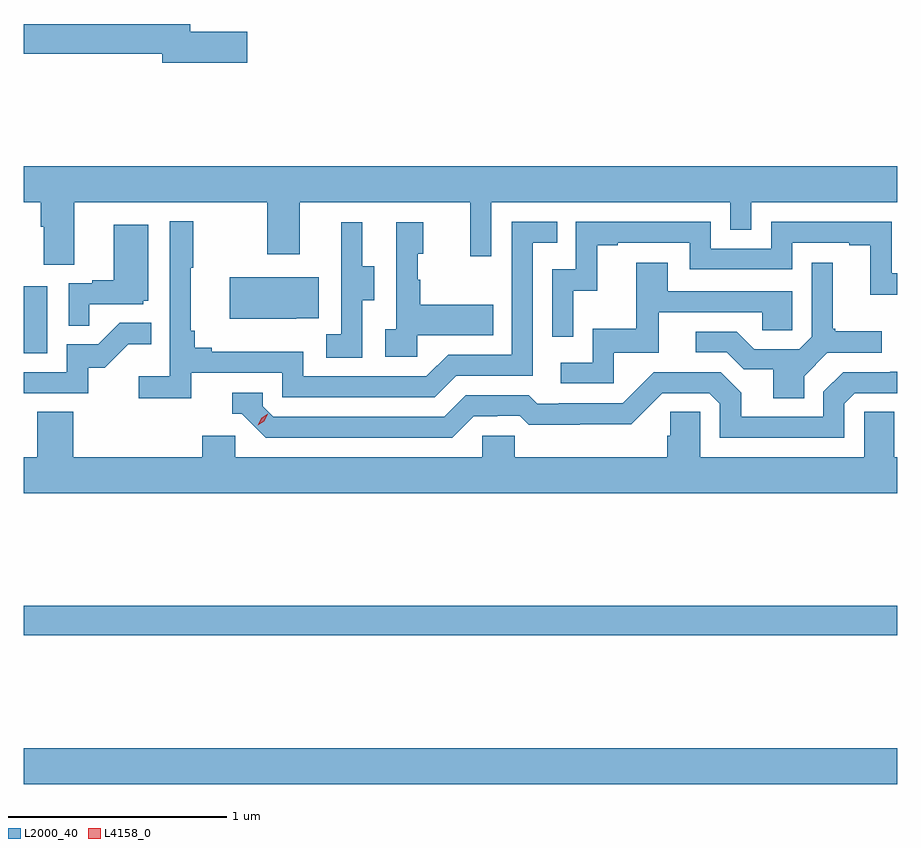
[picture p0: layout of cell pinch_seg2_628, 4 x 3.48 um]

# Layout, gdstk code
import gdstk
lib = gdstk.Library(unit=1e-6, precision=1e-09)
def R(c, l, rs):  # rectangles x0, y0, x1, y1
    for r in rs: c.add(gdstk.rectangle(r[:2], r[2:], *l))
def P(c, l, *ps):  # polygons
    for p in ps: c.add(gdstk.Polygon(p, *l))
L2000_40 = (2000, 40)
L4158_0 = (4158, 0)

pinch_seg2_628 = lib.new_cell('pinch_seg2_628')
R(pinch_seg2_628, L2000_40, [(1054.042,593.024,1058.042,593.188), (1054.042,593.704,1058.042,593.84), (1054.042,594.996,1054.15,595.303)])
P(pinch_seg2_628, L2000_40, [(1055.065,596.468),(1054.804,596.468),(1054.804,596.504),(1054.042,596.504),(1054.042,596.368),(1054.676,596.368),(1054.676,596.326),(1055.065,596.326)],
  [(1054.273,595.688),(1055.158,595.688),(1055.158,595.449),(1055.305,595.449),(1055.305,595.688),(1056.086,595.688),(1056.086,595.44),(1056.183,595.44),(1056.183,595.688),(1057.278,595.688),(1057.278,595.561),(1057.374,595.561),(1057.374,595.688),(1058.042,595.688),(1058.042,595.852),(1054.042,595.852),(1054.042,595.688),(1054.121,595.688),(1054.121,595.576),(1054.133,595.576),(1054.133,595.402),(1054.273,595.402)],
  [(1054.808,594.906),(1055.226,594.906),(1055.226,594.795),(1055.923,594.795),(1056.022,594.894),(1056.372,594.894),(1056.372,595.503),(1056.485,595.503),(1056.485,595.599),(1056.276,595.599),(1056.276,594.99),(1055.985,594.99),(1055.886,594.891),(1055.322,594.891),(1055.322,595.003),(1054.903,595.003),(1054.903,595.022),(1054.826,595.022),(1054.826,595.099),(1054.807,595.099),(1054.807,595.387),(1054.819,595.387),(1054.819,595.6),(1054.71,595.6),(1054.71,594.892),(1054.569,594.892),(1054.569,594.79),(1054.808,594.79)],
  [(1056.558,595.283),(1056.668,595.283),(1056.668,595.491),(1056.763,595.491),(1056.763,595.503),(1057.092,595.503),(1057.092,595.38),(1057.56,595.38),(1057.56,595.503),(1057.823,595.503),(1057.823,595.491),(1057.919,595.491),(1057.919,595.265),(1058.042,595.265),(1058.042,595.363),(1058.016,595.363),(1058.016,595.599),(1057.464,595.599),(1057.464,595.476),(1057.188,595.476),(1057.188,595.599),(1056.57,595.599),(1056.57,595.38),(1056.462,595.38),(1056.462,595.071),(1056.558,595.071)],
  [(1055.592,595.24),(1055.647,595.24),(1055.647,595.395),(1055.593,595.395),(1055.593,595.597),(1055.495,595.597),(1055.495,595.383),(1055.496,595.383),(1055.496,595.083),(1055.427,595.083),(1055.427,594.976),(1055.592,594.976)],
  [(1055.844,595.079),(1056.191,595.079),(1056.191,595.219),(1055.857,595.219),(1055.857,595.334),(1055.847,595.334),(1055.847,595.452),(1055.872,595.452),(1055.872,595.597),(1055.748,595.597),(1055.748,595.106),(1055.697,595.106),(1055.697,594.981),(1055.844,594.981)],
  [(1054.343,595.221),(1054.59,595.221),(1054.59,595.236),(1054.612,595.236),(1054.612,595.585),(1054.454,595.585),(1054.454,595.33),(1054.355,595.33),(1054.355,595.317),(1054.248,595.317),(1054.248,595.123),(1054.343,595.123)],
  [(1057.615,594.892),(1057.722,594.999),(1057.972,594.999),(1057.972,595.096),(1057.759,595.096),(1057.759,595.108),(1057.747,595.108),(1057.747,595.411),(1057.65,595.411),(1057.65,595.071),(1057.593,595.014),(1057.387,595.014),(1057.306,595.095),(1057.119,595.095),(1057.119,595.002),(1057.26,595.002),(1057.34,594.922),(1057.475,594.922),(1057.475,594.79),(1057.615,594.79)],
  [(1056.744,594.999),(1056.949,594.999),(1056.949,595.185),(1057.423,595.185),(1057.423,595.101),(1057.56,595.101),(1057.56,595.281),(1056.991,595.281),(1056.991,595.411),(1056.847,595.411),(1056.847,595.108),(1056.648,595.108),(1056.648,594.954),(1056.501,594.954),(1056.501,594.858),(1056.744,594.858)],
  [(1055.291,595.157),(1055.393,595.157),(1055.393,595.345),(1054.985,595.345),(1054.985,595.154),(1055.291,595.154)],
  [(1054.338,594.93),(1054.414,594.93),(1054.521,595.037),(1054.625,595.037),(1054.625,595.136),(1054.481,595.136),(1054.383,595.038),(1054.239,595.038),(1054.239,594.909),(1054.042,594.909),(1054.042,594.813),(1054.338,594.813)],
  [(1056.103,594.708),(1056.21,594.708),(1056.21,594.711),(1056.313,594.711),(1056.355,594.669),(1056.588,594.669),(1056.588,594.671),(1056.824,594.671),(1056.966,594.813),(1057.182,594.813),(1057.23,594.765),(1057.23,594.609),(1057.8,594.609),(1057.8,594.765),(1057.848,594.813),(1058.042,594.813),(1058.042,594.911),(1058.01,594.911),(1058.01,594.909),(1057.794,594.909),(1057.704,594.819),(1057.704,594.705),(1057.327,594.705),(1057.327,594.815),(1057.233,594.909),(1056.927,594.909),(1056.786,594.768),(1056.493,594.768),(1056.493,594.765),(1056.394,594.765),(1056.355,594.804),(1056.066,594.804),(1055.967,594.705),(1055.184,594.705),(1055.136,594.753),(1055.136,594.816),(1054.997,594.816),(1054.997,594.72),(1055.04,594.72),(1055.151,594.609),(1056.004,594.609)],
  [(1058.042,594.52),(1058.029,594.52),(1058.029,594.728),(1057.89,594.728),(1057.89,594.52),(1057.14,594.52),(1057.14,594.728),(1057.003,594.728),(1057.003,594.618),(1056.989,594.618),(1056.989,594.52),(1056.291,594.52),(1056.291,594.618),(1056.141,594.618),(1056.141,594.52),(1055.01,594.52),(1055.01,594.618),(1054.859,594.618),(1054.859,594.52),(1054.268,594.52),(1054.268,594.728),(1054.103,594.728),(1054.103,594.52),(1054.042,594.52),(1054.042,594.356),(1058.042,594.356)])
P(pinch_seg2_628, L4158_0, [(1055.114,594.666),(1055.114,594.666),(1055.13,594.699),(1055.16,594.719),(1055.16,594.719),(1055.16,594.718),(1055.144,594.686),(1055.114,594.666)])

lib.write_gds('pinch_seg2_628.gds')
